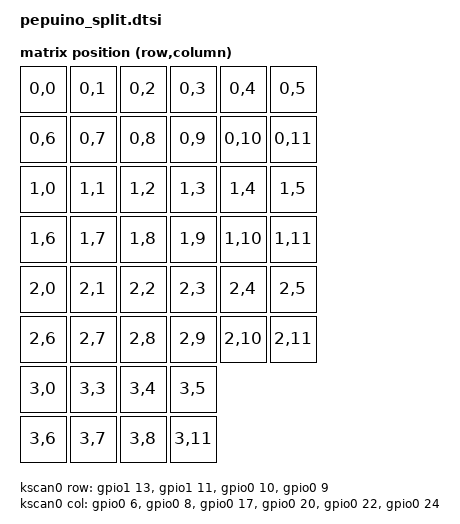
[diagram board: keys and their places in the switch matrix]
#include <behaviors.dtsi>

#define MATRIX_RC(row, col) ((row * 12) + col)

/ {
    kscan0: kscan0 {
        compatible = "zmk,kscan-gpio-matrix";
        diode-direction = "col2row";
        wakeup-source;

        col-gpios
            = <&gpio0 6 GPIO_ACTIVE_HIGH>
            , <&gpio0 8 GPIO_ACTIVE_HIGH>
            , <&gpio0 17 GPIO_ACTIVE_HIGH>
            , <&gpio0 20 GPIO_ACTIVE_HIGH>
            , <&gpio0 22 GPIO_ACTIVE_HIGH>
            , <&gpio0 24 GPIO_ACTIVE_HIGH>
            ;

        row-gpios
            = <&gpio1 13 (GPIO_ACTIVE_HIGH | GPIO_PULL_DOWN)>
            , <&gpio1 11 (GPIO_ACTIVE_HIGH | GPIO_PULL_DOWN)>
            , <&gpio0 10 (GPIO_ACTIVE_HIGH | GPIO_PULL_DOWN)>
            , <&gpio0 9 (GPIO_ACTIVE_HIGH | GPIO_PULL_DOWN)>
            ;
    };

    default_transform: keymap_transform0 {
        compatible = "zmk,matrix-transform";

        columns = <12>;
        rows = <4>;

        map = <
            MATRIX_RC(0,0)  MATRIX_RC(0,1)  MATRIX_RC(0,2)  MATRIX_RC(0,3)  MATRIX_RC(0,4)  MATRIX_RC(0,5)
            MATRIX_RC(0,6)  MATRIX_RC(0,7)  MATRIX_RC(0,8)  MATRIX_RC(0,9)  MATRIX_RC(0,10) MATRIX_RC(0,11)

            MATRIX_RC(1,0)  MATRIX_RC(1,1)  MATRIX_RC(1,2)  MATRIX_RC(1,3)  MATRIX_RC(1,4)  MATRIX_RC(1,5)
            MATRIX_RC(1,6)  MATRIX_RC(1,7)  MATRIX_RC(1,8)  MATRIX_RC(1,9)  MATRIX_RC(1,10) MATRIX_RC(1,11)

            MATRIX_RC(2,0)  MATRIX_RC(2,1)  MATRIX_RC(2,2)  MATRIX_RC(2,3)  MATRIX_RC(2,4)  MATRIX_RC(2,5)
            MATRIX_RC(2,6)  MATRIX_RC(2,7)  MATRIX_RC(2,8)  MATRIX_RC(2,9)  MATRIX_RC(2,10) MATRIX_RC(2,11)

            MATRIX_RC(3,0)  MATRIX_RC(3,3)  MATRIX_RC(3,4)  MATRIX_RC(3,5)
            MATRIX_RC(3,6)  MATRIX_RC(3,7)  MATRIX_RC(3,8)  MATRIX_RC(3,11)
        >;
    };

    physical_layout0: physical_layout_0 {
        compatible = "zmk,physical-layout";
        display-name = "Default Layout";
        kscan = <&kscan0>;
        transform = <&default_transform>;

        keys = <
            &key_physical 0 0 0 0
            &key_physical 1 0 0 0
            &key_physical 2 0 0 0
            &key_physical 3 0 0 0
            &key_physical 4 0 0 0
            &key_physical 5 0 0 0
            &key_physical 6 0 0 0
            &key_physical 7 0 0 0
            &key_physical 8 0 0 0
            &key_physical 9 0 0 0
            &key_physical 10 0 0 0
            &key_physical 11 0 0 0

            &key_physical 12 0 1 0
            &key_physical 13 0 1 0
            &key_physical 14 0 1 0
            &key_physical 15 0 1 0
            &key_physical 16 0 1 0
            &key_physical 17 0 1 0
            &key_physical 18 0 1 0
            &key_physical 19 0 1 0
            &key_physical 20 0 1 0
            &key_physical 21 0 1 0
            &key_physical 22 0 1 0
            &key_physical 23 0 1 0

            &key_physical 24 0 2 0
            &key_physical 25 0 2 0
            &key_physical 26 0 2 0
            &key_physical 27 0 2 0
            &key_physical 28 0 2 0
            &key_physical 29 0 2 0
            &key_physical 30 0 2 0
            &key_physical 31 0 2 0
            &key_physical 32 0 2 0
            &key_physical 33 0 2 0
            &key_physical 34 0 2 0
            &key_physical 35 0 2 0

            &key_physical 36 0 3 0
            &key_physical 39 0 3 0
            &key_physical 40 0 3 0
            &key_physical 41 0 3 0
            &key_physical 42 0 3 0
            &key_physical 43 0 3 0
            &key_physical 44 0 3 0
            &key_physical 47 0 3 0
        >;
    };

    split: split {
        compatible = "zmk,split";
    };
};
